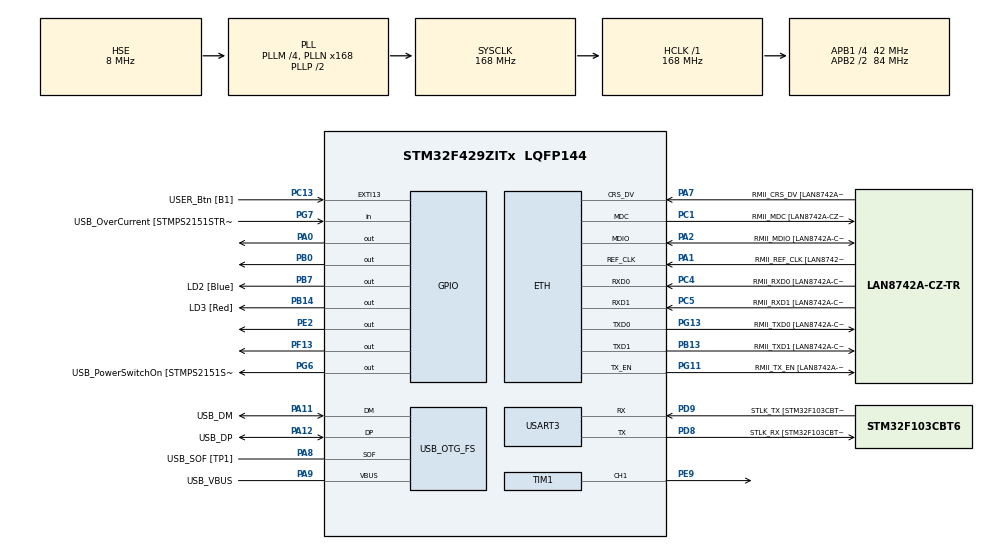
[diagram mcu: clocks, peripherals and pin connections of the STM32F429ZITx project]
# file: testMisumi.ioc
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ETH.MediaInterface=HAL_ETH_RMII_MODE
ETH.PHY_Name=LAN8742A_PHY_ADDRESS
ETH.PHY_Value=0
ETH.PhyAddress=0
Mcu.Family=STM32F4
Mcu.Name=STM32F429ZITx
Mcu.Package=LQFP144
NVIC.EXTI15_10_IRQn=true\:0\:0\:false\:false\:true\:true\:true\:true
NVIC.PriorityGroup=NVIC_PRIORITYGROUP_4
NVIC.TIM1_UP_TIM10_IRQn=true\:0\:0\:false\:false\:true\:true\:true\:true
PA0/WKUP.Signal=GPIO_Output
PA1.GPIO_Label=RMII_REF_CLK [LAN8742A-CZ-TR_REFCLK0]
PA1.Mode=RMII
PA1.Signal=ETH_REF_CLK
PA10.GPIO_Label=USB_ID
PA10.Signal=USB_OTG_FS_ID
PA11.GPIO_Label=USB_DM
PA11.Mode=Device_Only
PA11.Signal=USB_OTG_FS_DM
PA12.GPIO_Label=USB_DP
PA12.Mode=Device_Only
PA12.Signal=USB_OTG_FS_DP
PA13.GPIO_Label=TMS
PA13.Mode=Serial_Wire
PA13.Signal=SYS_JTMS-SWDIO
PA14.GPIO_Label=TCK
PA14.Mode=Serial_Wire
PA14.Signal=SYS_JTCK-SWCLK
PA2.GPIO_Label=RMII_MDIO [LAN8742A-CZ-TR_MDIO]
PA2.Mode=RMII
PA2.Signal=ETH_MDIO
PA7.GPIO_Label=RMII_CRS_DV [LAN8742A-CZ-TR_CRS_DV]
PA7.Mode=RMII
PA7.Signal=ETH_CRS_DV
PA8.GPIO_Label=USB_SOF [TP1]
PA8.Mode=Activate_SOF_FS
PA8.Signal=USB_OTG_FS_SOF
PA9.GPIO_Label=USB_VBUS
PA9.Mode=Activate_VBUS
PA9.Signal=USB_OTG_FS_VBUS
PB0.Signal=GPIO_Output
PB13.GPIO_Label=RMII_TXD1 [LAN8742A-CZ-TR_TXD1]
PB13.Mode=RMII
PB13.Signal=ETH_TXD1
PB14.GPIO_Label=LD3 [Red]
PB14.Signal=GPIO_Output
PB7.GPIO_Label=LD2 [Blue]
PB7.Signal=GPIO_Output
PC1.GPIO_Label=RMII_MDC [LAN8742A-CZ-TR_MDC]
PC1.Mode=RMII
PC1.Signal=ETH_MDC
PC13.GPIO_Label=USER_Btn [B1]
PC13.Signal=GPXTI13
PC14/OSC32_IN.Mode=LSE-External-Oscillator
PC14/OSC32_IN.Signal=RCC_OSC32_IN
PC15/OSC32_OUT.Mode=LSE-External-Oscillator
PC15/OSC32_OUT.Signal=RCC_OSC32_OUT
PC4.GPIO_Label=RMII_RXD0 [LAN8742A-CZ-TR_RXD0]
PC4.Mode=RMII
PC4.Signal=ETH_RXD0
PC5.GPIO_Label=RMII_RXD1 [LAN8742A-CZ-TR_RXD1]
PC5.Mode=RMII
PC5.Signal=ETH_RXD1
PD8.GPIO_Label=STLK_RX [STM32F103CBT6_PA3]
PD8.Mode=Asynchronous
PD8.Signal=USART3_TX
PD9.GPIO_Label=STLK_TX [STM32F103CBT6_PA2]
PD9.Mode=Asynchronous
PD9.Signal=USART3_RX
PE2.Signal=GPIO_Output
PE9.Signal=S_TIM1_CH1
PF13.Signal=GPIO_Output
PG11.GPIO_Label=RMII_TX_EN [LAN8742A-CZ-TR_TXEN]
PG11.Mode=RMII
PG11.Signal=ETH_TX_EN
PG13.GPIO_Label=RMII_TXD0 [LAN8742A-CZ-TR_TXD0]
PG13.Mode=RMII
PG13.Signal=ETH_TXD0
PG6.GPIO_Label=USB_PowerSwitchOn [STMPS2151STR_EN]
PG6.Signal=GPIO_Output
PG7.GPIO_Label=USB_OverCurrent [STMPS2151STR_FAULT]
PG7.Signal=GPIO_Input
PH0/OSC_IN.GPIO_Label=MCO [STM32F103CBT6_PA8]
PH0/OSC_IN.Mode=HSE-External-Clock-Source
PH0/OSC_IN.Signal=RCC_OSC_IN
PH1/OSC_OUT.Mode=HSE-External-Clock-Source
PH1/OSC_OUT.Signal=RCC_OSC_OUT
ProjectManager.HeapSize=0x200
ProjectManager.StackSize=0x400
ProjectManager.TargetToolchain=STM32CubeIDE
RCC.48MHZClocksFreq_Value=48000000
RCC.AHBFreq_Value=168000000
RCC.APB1CLKDivider=RCC_HCLK_DIV4
RCC.APB1Freq_Value=42000000
RCC.APB1TimFreq_Value=84000000
RCC.APB2CLKDivider=RCC_HCLK_DIV2
RCC.APB2Freq_Value=84000000
RCC.APB2TimCLKDivider=2
RCC.APB2TimFreq_Value=168000000
RCC.CortexFreq_Value=168000000
RCC.EnbaleCSS=true
RCC.HCLKFreq_Value=168000000
RCC.HSE_VALUE=8000000
RCC.HSI_VALUE=16000000
RCC.PLLM=4
RCC.PLLMUL=RCC_PLL_MUL9
RCC.PLLN=168
RCC.PLLQ=7
RCC.PRESCALERUSB=RCC_USBCLKSOURCE_PLL_DIV1_5
RCC.SYSCLKFreq_VALUE=168000000
RCC.SYSCLKSource=RCC_SYSCLKSOURCE_PLLCLK
RCC.SYSCLKSourceVirtual=RCC_SYSCLKSOURCE_PLLCLK
RCC.USBFreq_Value=48000000
RCC.VCOOutputFreq_Value=336000000
SH.S_TIM1_CH1.0=TIM1_CH1,PWM Generation1 CH1
TIM1.Channel-PWM\ Generation1\ CH1=TIM_CHANNEL_1
TIM1.OCMode_PWM-PWM\ Generation1\ CH1=TIM_OCMODE_PWM2
TIM1.OCPolarity_1=TIM_OCPOLARITY_LOW
TIM1.Period=1000
TIM1.Prescaler=167
TIM1.Pulse-PWM\ Generation1\ CH1=9
TIM1.RepetitionCounter=0
TIM1.TIM_MasterOutputTrigger=TIM_TRGO_UPDATE
TIM1.TIM_MasterSlaveMode=TIM_MASTERSLAVEMODE_DISABLE
USART3.VirtualMode=VM_ASYNC
USB_OTG_FS.VirtualMode=Device_Only
VP_TIM1_VS_ClockSourceINT.Mode=Internal
board=NUCLEO-F429ZI

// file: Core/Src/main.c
/* USER CODE BEGIN Header */
/**
  ******************************************************************************
  * @file           : main.c
  * @brief          : Main program body
  ******************************************************************************
  * @attention
  *
  * Copyright (c) 2024 STMicroelectronics.
  * All rights reserved.
  *
  * This software is licensed under terms that can be found in the LICENSE file
  * in the root directory of this software component.
  * If no LICENSE file comes with this software, it is provided AS-IS.
  *
  ******************************************************************************
  */
/* USER CODE END Header */
#include "main.h"
#include "string.h"

/* USER CODE BEGIN Includes */
#include "stepper.h"
/* USER CODE END Includes */

/* USER CODE BEGIN PM */
#define STEPPER_TIMER &htim1
#define STEPPER_INTERVAL 1000
#define STEPPER_DIR_PORT GPIOF
#define STEPPER_DIR_PIN GPIO_PIN_13
/* USER CODE END PM */

ETH_TxPacketConfig TxConfig;
ETH_DMADescTypeDef  DMARxDscrTab[ETH_RX_DESC_CNT]; /* Ethernet Rx DMA Descriptors */
ETH_DMADescTypeDef  DMATxDscrTab[ETH_TX_DESC_CNT]; /* Ethernet Tx DMA Descriptors */

ETH_HandleTypeDef heth;

TIM_HandleTypeDef htim1;

UART_HandleTypeDef huart3;

PCD_HandleTypeDef hpcd_USB_OTG_FS;

void SystemClock_Config(void);
static void MX_GPIO_Init(void);
static void MX_ETH_Init(void);
static void MX_USART3_UART_Init(void);
static void MX_USB_OTG_FS_PCD_Init(void);
static void MX_TIM1_Init(void);

/* USER CODE BEGIN 0 */
extern int check, check1;
extern GPIO_TypeDef* Dir_Port;
extern uint16_t Dir_Pin;

int timIT, dirpin;
uint16_t interval = 1000;
int32_t steps = 3;

uint8_t rotateRet, rotateCplt;

/* USER CODE END 0 */

int main(void)
{

  /* MCU Configuration--------------------------------------------------------*/

  /* Reset of all peripherals, Initializes the Flash interface and the Systick. */
  HAL_Init();

  /* Configure the system clock */
  SystemClock_Config();

  /* Initialize all configured peripherals */
  MX_GPIO_Init();
  MX_ETH_Init();
  MX_USART3_UART_Init();
  MX_USB_OTG_FS_PCD_Init();
  MX_TIM1_Init();
  /* USER CODE BEGIN 2 */
  Stepper_Config(STEPPER_TIMER, TIM_CHANNEL_1, STEPPER_INTERVAL, STEPPER_DIR_PORT, STEPPER_DIR_PIN);
  HAL_GPIO_WritePin(STEPPER_DIR_PORT, STEPPER_DIR_PIN, SET);
  /* USER CODE END 2 */

  /* Infinite loop */
  /* USER CODE BEGIN WHILE */
  while (1)
  {
	  dirpin = HAL_GPIO_ReadPin(STEPPER_DIR_PORT, STEPPER_DIR_PIN);
    /* USER CODE END WHILE */

  }
}

void SystemClock_Config(void)
{
  RCC_OscInitTypeDef RCC_OscInitStruct = {0};
  RCC_ClkInitTypeDef RCC_ClkInitStruct = {0};

  /** Configure the main internal regulator output voltage
  */
  __HAL_RCC_PWR_CLK_ENABLE();
  __HAL_PWR_VOLTAGESCALING_CONFIG(PWR_REGULATOR_VOLTAGE_SCALE1);

  /** Initializes the RCC Oscillators according to the specified parameters
  * in the RCC_OscInitTypeDef structure.
  */
  RCC_OscInitStruct.OscillatorType = RCC_OSCILLATORTYPE_HSE;
  RCC_OscInitStruct.HSEState = RCC_HSE_BYPASS;
  RCC_OscInitStruct.PLL.PLLState = RCC_PLL_ON;
  RCC_OscInitStruct.PLL.PLLSource = RCC_PLLSOURCE_HSE;
  RCC_OscInitStruct.PLL.PLLM = 4;
  RCC_OscInitStruct.PLL.PLLN = 168;
  RCC_OscInitStruct.PLL.PLLP = RCC_PLLP_DIV2;
  RCC_OscInitStruct.PLL.PLLQ = 7;
  if (HAL_RCC_OscConfig(&RCC_OscInitStruct) != HAL_OK)
  {
    Error_Handler();
  }

  /** Initializes the CPU, AHB and APB buses clocks
  */
  RCC_ClkInitStruct.ClockType = RCC_CLOCKTYPE_HCLK|RCC_CLOCKTYPE_SYSCLK
                              |RCC_CLOCKTYPE_PCLK1|RCC_CLOCKTYPE_PCLK2;
  RCC_ClkInitStruct.SYSCLKSource = RCC_SYSCLKSOURCE_PLLCLK;
  RCC_ClkInitStruct.AHBCLKDivider = RCC_SYSCLK_DIV1;
  RCC_ClkInitStruct.APB1CLKDivider = RCC_HCLK_DIV4;
  RCC_ClkInitStruct.APB2CLKDivider = RCC_HCLK_DIV2;

  if (HAL_RCC_ClockConfig(&RCC_ClkInitStruct, FLASH_LATENCY_5) != HAL_OK)
  {
    Error_Handler();
  }

  /** Enables the Clock Security System
  */
  HAL_RCC_EnableCSS();
}

static void MX_ETH_Init(void)
{

   static uint8_t MACAddr[6];

  heth.Instance = ETH;
  MACAddr[0] = 0x00;
  MACAddr[1] = 0x80;
  MACAddr[2] = 0xE1;
  MACAddr[3] = 0x00;
  MACAddr[4] = 0x00;
  MACAddr[5] = 0x00;
  heth.Init.MACAddr = &MACAddr[0];
  heth.Init.MediaInterface = HAL_ETH_RMII_MODE;
  heth.Init.TxDesc = DMATxDscrTab;
  heth.Init.RxDesc = DMARxDscrTab;
  heth.Init.RxBuffLen = 1524;

  if (HAL_ETH_Init(&heth) != HAL_OK)
  {
    Error_Handler();
  }

  memset(&TxConfig, 0 , sizeof(ETH_TxPacketConfig));
  TxConfig.Attributes = ETH_TX_PACKETS_FEATURES_CSUM | ETH_TX_PACKETS_FEATURES_CRCPAD;
  TxConfig.ChecksumCtrl = ETH_CHECKSUM_IPHDR_PAYLOAD_INSERT_PHDR_CALC;
  TxConfig.CRCPadCtrl = ETH_CRC_PAD_INSERT;

}

static void MX_TIM1_Init(void)
{

  TIM_ClockConfigTypeDef sClockSourceConfig = {0};
  TIM_MasterConfigTypeDef sMasterConfig = {0};
  TIM_OC_InitTypeDef sConfigOC = {0};
  TIM_BreakDeadTimeConfigTypeDef sBreakDeadTimeConfig = {0};

  htim1.Instance = TIM1;
  htim1.Init.Prescaler = 167;
  htim1.Init.CounterMode = TIM_COUNTERMODE_UP;
  htim1.Init.Period = 1000;
  htim1.Init.ClockDivision = TIM_CLOCKDIVISION_DIV1;
  htim1.Init.RepetitionCounter = 0;
  htim1.Init.AutoReloadPreload = TIM_AUTORELOAD_PRELOAD_DISABLE;
  if (HAL_TIM_Base_Init(&htim1) != HAL_OK)
  {
    Error_Handler();
  }
  sClockSourceConfig.ClockSource = TIM_CLOCKSOURCE_INTERNAL;
  if (HAL_TIM_ConfigClockSource(&htim1, &sClockSourceConfig) != HAL_OK)
  {
    Error_Handler();
  }
  if (HAL_TIM_PWM_Init(&htim1) != HAL_OK)
  {
    Error_Handler();
  }
  sMasterConfig.MasterOutputTrigger = TIM_TRGO_UPDATE;
  sMasterConfig.MasterSlaveMode = TIM_MASTERSLAVEMODE_DISABLE;
  if (HAL_TIMEx_MasterConfigSynchronization(&htim1, &sMasterConfig) != HAL_OK)
  {
    Error_Handler();
  }
  sConfigOC.OCMode = TIM_OCMODE_PWM2;
  sConfigOC.Pulse = 9;
  sConfigOC.OCPolarity = TIM_OCPOLARITY_LOW;
  sConfigOC.OCNPolarity = TIM_OCNPOLARITY_HIGH;
  sConfigOC.OCFastMode = TIM_OCFAST_DISABLE;
  sConfigOC.OCIdleState = TIM_OCIDLESTATE_RESET;
  sConfigOC.OCNIdleState = TIM_OCNIDLESTATE_RESET;
  if (HAL_TIM_PWM_ConfigChannel(&htim1, &sConfigOC, TIM_CHANNEL_1) != HAL_OK)
  {
    Error_Handler();
  }
  sBreakDeadTimeConfig.OffStateRunMode = TIM_OSSR_DISABLE;
  sBreakDeadTimeConfig.OffStateIDLEMode = TIM_OSSI_DISABLE;
  sBreakDeadTimeConfig.LockLevel = TIM_LOCKLEVEL_OFF;
  sBreakDeadTimeConfig.DeadTime = 0;
  sBreakDeadTimeConfig.BreakState = TIM_BREAK_DISABLE;
  sBreakDeadTimeConfig.BreakPolarity = TIM_BREAKPOLARITY_HIGH;
  sBreakDeadTimeConfig.AutomaticOutput = TIM_AUTOMATICOUTPUT_DISABLE;
  if (HAL_TIMEx_ConfigBreakDeadTime(&htim1, &sBreakDeadTimeConfig) != HAL_OK)
  {
    Error_Handler();
  }
  HAL_TIM_MspPostInit(&htim1);

}

static void MX_USART3_UART_Init(void)
{

  huart3.Instance = USART3;
  huart3.Init.BaudRate = 115200;
  huart3.Init.WordLength = UART_WORDLENGTH_8B;
  huart3.Init.StopBits = UART_STOPBITS_1;
  huart3.Init.Parity = UART_PARITY_NONE;
  huart3.Init.Mode = UART_MODE_TX_RX;
  huart3.Init.HwFlowCtl = UART_HWCONTROL_NONE;
  huart3.Init.OverSampling = UART_OVERSAMPLING_16;
  if (HAL_UART_Init(&huart3) != HAL_OK)
  {
    Error_Handler();
  }

}

static void MX_USB_OTG_FS_PCD_Init(void)
{

  hpcd_USB_OTG_FS.Instance = USB_OTG_FS;
  hpcd_USB_OTG_FS.Init.dev_endpoints = 4;
  hpcd_USB_OTG_FS.Init.speed = PCD_SPEED_FULL;
  hpcd_USB_OTG_FS.Init.dma_enable = DISABLE;
  hpcd_USB_OTG_FS.Init.phy_itface = PCD_PHY_EMBEDDED;
  hpcd_USB_OTG_FS.Init.Sof_enable = ENABLE;
  hpcd_USB_OTG_FS.Init.low_power_enable = DISABLE;
  hpcd_USB_OTG_FS.Init.lpm_enable = DISABLE;
  hpcd_USB_OTG_FS.Init.vbus_sensing_enable = ENABLE;
  hpcd_USB_OTG_FS.Init.use_dedicated_ep1 = DISABLE;
  if (HAL_PCD_Init(&hpcd_USB_OTG_FS) != HAL_OK)
  {
    Error_Handler();
  }

}

static void MX_GPIO_Init(void)
{
  GPIO_InitTypeDef GPIO_InitStruct = {0};

  /* GPIO Ports Clock Enable */
  __HAL_RCC_GPIOE_CLK_ENABLE();
  __HAL_RCC_GPIOC_CLK_ENABLE();
  __HAL_RCC_GPIOH_CLK_ENABLE();
  __HAL_RCC_GPIOA_CLK_ENABLE();
  __HAL_RCC_GPIOB_CLK_ENABLE();
  __HAL_RCC_GPIOF_CLK_ENABLE();
  __HAL_RCC_GPIOD_CLK_ENABLE();
  __HAL_RCC_GPIOG_CLK_ENABLE();

  /*Configure GPIO pin Output Level */
  HAL_GPIO_WritePin(GPIOE, GPIO_PIN_2, GPIO_PIN_RESET);

  /*Configure GPIO pin Output Level */
  HAL_GPIO_WritePin(GPIOA, GPIO_PIN_0, GPIO_PIN_RESET);

  /*Configure GPIO pin Output Level */
  HAL_GPIO_WritePin(GPIOB, GPIO_PIN_0|LD3_Pin|LD2_Pin, GPIO_PIN_RESET);

  /*Configure GPIO pin Output Level */
  HAL_GPIO_WritePin(GPIOF, GPIO_PIN_13, GPIO_PIN_RESET);

  /*Configure GPIO pin Output Level */
  HAL_GPIO_WritePin(USB_PowerSwitchOn_GPIO_Port, USB_PowerSwitchOn_Pin, GPIO_PIN_RESET);

  /*Configure GPIO pin : PE2 */
  GPIO_InitStruct.Pin = GPIO_PIN_2;
  GPIO_InitStruct.Mode = GPIO_MODE_OUTPUT_PP;
  GPIO_InitStruct.Pull = GPIO_NOPULL;
  GPIO_InitStruct.Speed = GPIO_SPEED_FREQ_LOW;
  HAL_GPIO_Init(GPIOE, &GPIO_InitStruct);

  /*Configure GPIO pin : USER_Btn_Pin */
  GPIO_InitStruct.Pin = USER_Btn_Pin;
  GPIO_InitStruct.Mode = GPIO_MODE_IT_RISING;
  GPIO_InitStruct.Pull = GPIO_NOPULL;
  HAL_GPIO_Init(USER_Btn_GPIO_Port, &GPIO_InitStruct);

  /*Configure GPIO pin : PA0 */
  GPIO_InitStruct.Pin = GPIO_PIN_0;
  GPIO_InitStruct.Mode = GPIO_MODE_OUTPUT_PP;
  GPIO_InitStruct.Pull = GPIO_NOPULL;
  GPIO_InitStruct.Speed = GPIO_SPEED_FREQ_LOW;
  HAL_GPIO_Init(GPIOA, &GPIO_InitStruct);

  /*Configure GPIO pins : PB0 LD3_Pin LD2_Pin */
  GPIO_InitStruct.Pin = GPIO_PIN_0|LD3_Pin|LD2_Pin;
  GPIO_InitStruct.Mode = GPIO_MODE_OUTPUT_PP;
  GPIO_InitStruct.Pull = GPIO_NOPULL;
  GPIO_InitStruct.Speed = GPIO_SPEED_FREQ_LOW;
  HAL_GPIO_Init(GPIOB, &GPIO_InitStruct);

  /*Configure GPIO pin : PF13 */
  GPIO_InitStruct.Pin = GPIO_PIN_13;
  GPIO_InitStruct.Mode = GPIO_MODE_OUTPUT_PP;
  GPIO_InitStruct.Pull = GPIO_NOPULL;
  GPIO_InitStruct.Speed = GPIO_SPEED_FREQ_LOW;
  HAL_GPIO_Init(GPIOF, &GPIO_InitStruct);

  /*Configure GPIO pin : USB_PowerSwitchOn_Pin */
  GPIO_InitStruct.Pin = USB_PowerSwitchOn_Pin;
  GPIO_InitStruct.Mode = GPIO_MODE_OUTPUT_PP;
  GPIO_InitStruct.Pull = GPIO_NOPULL;
  GPIO_InitStruct.Speed = GPIO_SPEED_FREQ_LOW;
  HAL_GPIO_Init(USB_PowerSwitchOn_GPIO_Port, &GPIO_InitStruct);

  /*Configure GPIO pin : USB_OverCurrent_Pin */
  GPIO_InitStruct.Pin = USB_OverCurrent_Pin;
  GPIO_InitStruct.Mode = GPIO_MODE_INPUT;
  GPIO_InitStruct.Pull = GPIO_NOPULL;
  HAL_GPIO_Init(USB_OverCurrent_GPIO_Port, &GPIO_InitStruct);

  /* EXTI interrupt init*/
  HAL_NVIC_SetPriority(EXTI15_10_IRQn, 0, 0);
  HAL_NVIC_EnableIRQ(EXTI15_10_IRQn);

}

/* USER CODE BEGIN 4 */

void HAL_TIM_PeriodElapsedCallback(TIM_HandleTypeDef *htim)
{
	if(htim == &htim1)
	{
		Stepper_Step_Cplt();
		timIT++;
	}
}

void HAL_GPIO_EXTI_Callback(uint16_t GPIO_Pin)
{

	if(GPIO_Pin == GPIO_PIN_13)
	{
		rotateCplt = Stepper_Cplt();
		Stepper_Set_Interval(interval);
		rotateRet = Stepper_Rotate(steps);
	}
}

extern void Stepper_Rotate_Cplt_CB()
{}

/* USER CODE END 4 */

void Error_Handler(void)
{
  __disable_irq();
  while (1)
  {
  }
}
